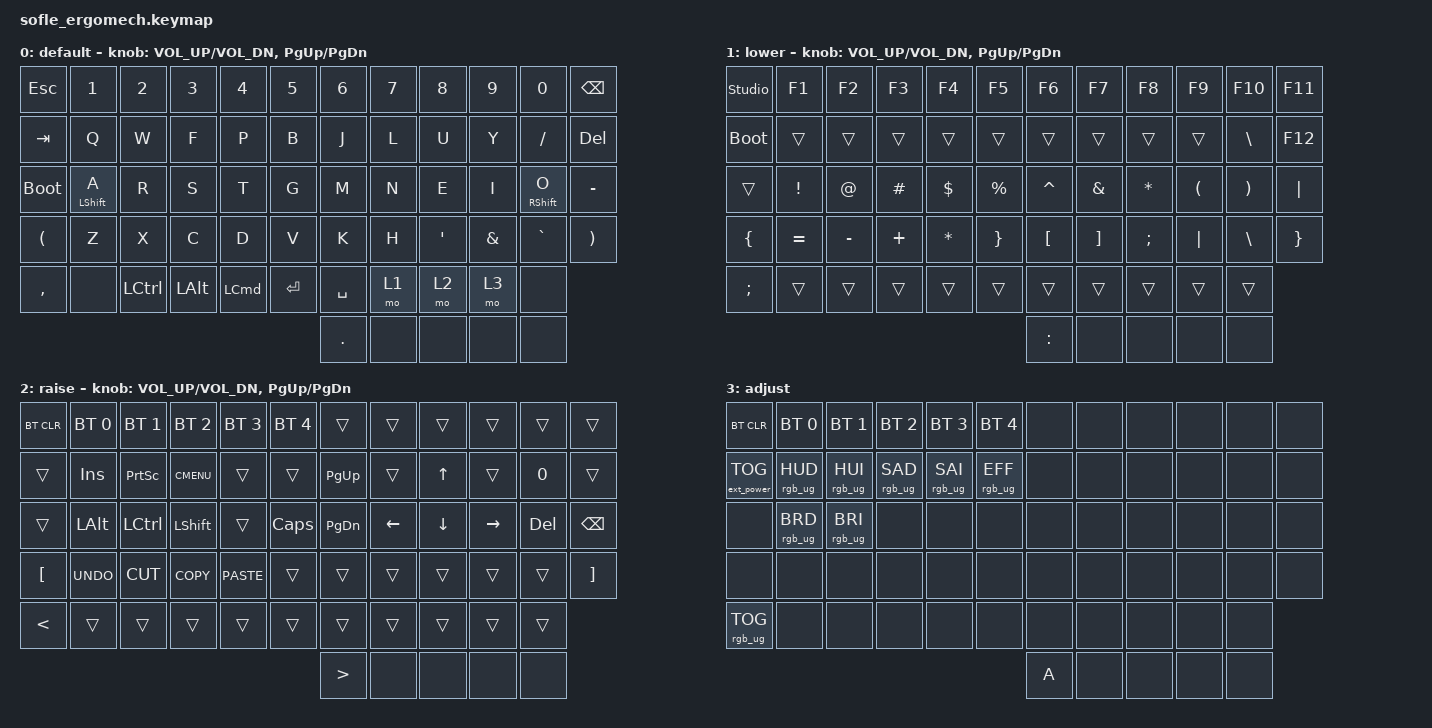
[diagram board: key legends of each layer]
/*
 * Copyright (c) 2020 The ZMK Contributors
 *
 * SPDX-License-Identifier: MIT
 */

#include <behaviors.dtsi>
#include <dt-bindings/zmk/bt.h>
#include <dt-bindings/zmk/ext_power.h>
#include <dt-bindings/zmk/keys.h>
#include <dt-bindings/zmk/rgb.h>

#define BASE 0
#define LOWER 1
#define RAISE 2
#define ADJUST 3

/ {
    // Activate ADJUST layer by pressing raise and lower

    conditional_layers {
        compatible = "zmk,conditional-layers";

        adjust_layer {
            if-layers = <LOWER RAISE>;
            then-layer = <ADJUST>;
        };
    };

    keymap {
        compatible = "zmk,keymap";

        default_layer {
            label = "default";

            // ------------------------------------------------------------------------------------------------------------
            // |   `   |  1  |  2  |  3   |  4   |  5   |                   |  6   |  7    |  8    |  9   |   0   |       |
            // |  ESC  |  Q  |  W  |  E   |  R   |  T   |                   |  Y   |  U    |  I    |  O   |   P   | BKSPC |
            // |  TAB  |  A  |  S  |  D   |  F   |  G   |                   |  H   |  J    |  K    |  L   |   ;   |   '   |
            // | SHIFT |  Z  |  X  |  C   |  V   |  B   |  MUTE  |  |       |  N   |  M    |  ,    |  .   |   /   | SHIFT |
            //               | GUI | ALT  | CTRL | LOWER|  ENTER |  | SPACE | RAISE| CTRL  | ALT   | GUI  |

            bindings = <
&kp ESCAPE            &kp N1            &kp N2     &kp N3        &kp N4            &kp N5      &kp N6      &kp N7  &kp N8   &kp N9         &kp N0             &kp BACKSPACE
&kp TAB               &kp Q             &kp W      &kp F         &kp P             &kp B       &kp J       &kp L   &kp U    &kp Y          &kp SLASH          &kp DELETE
&bootloader           &mt LEFT_SHIFT A  &kp R      &kp S         &kp T             &kp G       &kp M       &kp N   &kp E    &kp I          &mt RIGHT_SHIFT O  &kp MINUS
&kp LEFT_PARENTHESIS  &kp Z             &kp X      &kp C         &kp D             &kp V       &kp K       &kp H   &kp SQT  &kp AMPERSAND  &kp GRAVE          &kp RIGHT_PARENTHESIS
&kp COMMA             &none             &kp LCTRL  &kp LEFT_ALT  &kp LEFT_COMMAND  &kp RETURN  &kp SPACE   &mo 1   &mo 2    &mo 3          &none
                                                                                               &kp PERIOD  &none   &none    &none          &none
            >;

            sensor-bindings = <&inc_dec_kp C_VOL_UP C_VOL_DN &inc_dec_kp PG_UP PG_DN>;
        };

        lower_layer {
            label = "lower";

            // TODO: Some binds are waiting for shifted keycode support.
            // ------------------------------------------------------------------------------------------------------------
            // |       |  F1 |  F2 |  F3  |  F4  |  F5  |                   |  F6  |  F7   |  F8   |  F9  |  F10  |  F11  |
            // |   `   |  1  |  2  |  3   |  4   |  5   |                   |  6   |  7    |  8    |  9   |   0   |  F12  |
            // |       |  !  |  @  |  #   |  $   |  %   |                   |  ^   |  &    |  *    |  (   |   )   |   |   |
            // |       |  =  |  -  |  +   |  {   |  }   |        |  |       |  [   |  ]    |  ;    |  :   |   \   |       |
            //               |     |      |      |      |        |  |       |      |       |       |      |

            bindings = <
&studio_unlock  &kp F1     &kp F2     &kp F3    &kp F4        &kp F5     &kp F6     &kp F7    &kp F8     &kp F9    &kp F10        &kp F11
&bootloader     &trans     &trans     &trans    &trans        &trans     &trans     &trans    &trans     &trans    &kp BACKSLASH  &kp F12
&trans          &kp EXCL   &kp AT     &kp HASH  &kp DLLR      &kp PRCNT  &kp CARET  &kp AMPS  &kp ASTRK  &kp LPAR  &kp RPAR       &kp PIPE
&kp LEFT_BRACE  &kp EQUAL  &kp MINUS  &kp PLUS  &kp ASTERISK  &kp RBRC   &kp LBKT   &kp RBKT  &kp SEMI   &kp PIPE  &kp BSLH       &kp RIGHT_BRACE
&kp SEMICOLON   &trans     &trans     &trans    &trans        &trans     &trans     &trans    &trans     &trans    &trans
                                                                         &kp COLON  &none     &none      &none     &none
            >;

            sensor-bindings = <&inc_dec_kp C_VOL_UP C_VOL_DN &inc_dec_kp PG_UP PG_DN>;
        };

        raise_layer {
            label = "raise";

            // ------------------------------------------------------------------------------------------------------------
            // | BTCLR | BT1  | BT2  |  BT3  |  BT4  |  BT5 |                |      |      |       |      |       |       |
            // |       | INS  | PSCR | GUI   |       |      |                | PGUP |      |   ^   |      |       |       |
            // |       | ALT  | CTRL | SHIFT |       | CAPS |                | PGDN |   <- |   v   |  ->  |  DEL  | BKSPC |
            // |       | UNDO | CUT  | COPY  | PASTE |      |      |  |      |      |      |       |      |       |       |
            //                |      |       |       |      |      |  |      |      |      |       |      |

            bindings = <
&bt BT_CLR        &bt BT_SEL 0  &bt BT_SEL 1  &bt BT_SEL 2  &bt BT_SEL 3  &bt BT_SEL 4  &trans            &trans    &trans    &trans     &trans   &trans
&trans            &kp INS       &kp PSCRN     &kp K_CMENU   &trans        &trans        &kp PG_UP         &trans    &kp UP    &trans     &kp N0   &trans
&trans            &kp LALT      &kp LCTRL     &kp LSHFT     &trans        &kp CLCK      &kp PG_DN         &kp LEFT  &kp DOWN  &kp RIGHT  &kp DEL  &kp BSPC
&kp LEFT_BRACKET  &kp K_UNDO    &kp K_CUT     &kp K_COPY    &kp K_PASTE   &trans        &trans            &trans    &trans    &trans     &trans   &kp RIGHT_BRACKET
&kp LESS_THAN     &trans        &trans        &trans        &trans        &trans        &trans            &trans    &trans    &trans     &trans
                                                                                        &kp GREATER_THAN  &none     &none     &none      &none
            >;

            sensor-bindings = <&inc_dec_kp C_VOL_UP C_VOL_DN &inc_dec_kp PG_UP PG_DN>;
        };

        adjust_layer {
            // ----------------------------------------------------------------------------------------------------------------------------
            // | BTCLR  |  BT1    |  BT2    |   BT3   |   BT4   |   BT5   |                  |      |      |       |      |       |       |
            // | EXTPWR | RGB_HUD | RGB_HUI | RGB_SAD | RGB_SAI | RGB_EFF |                  |      |      |       |      |       |       |
            // |        | RGB_BRD | RGB_BRI |         |         |         |                  |      |      |       |      |       |       |
            // |        |         |         |         |         |         | RGB_TOG | |      |      |      |       |      |       |       |
            //                    |         |         |         |         |         | |      |      |      |       |      |

            label = "adjust";
            bindings = <
&bt BT_CLR         &bt BT_SEL 0     &bt BT_SEL 1     &bt BT_SEL 2     &bt BT_SEL 3     &bt BT_SEL 4     &none  &none  &none  &none  &none  &none
&ext_power EP_TOG  &rgb_ug RGB_HUD  &rgb_ug RGB_HUI  &rgb_ug RGB_SAD  &rgb_ug RGB_SAI  &rgb_ug RGB_EFF  &none  &none  &none  &none  &none  &none
&none              &rgb_ug RGB_BRD  &rgb_ug RGB_BRI  &none            &none            &none            &none  &none  &none  &none  &none  &none
&none              &none            &none            &none            &none            &none            &none  &none  &none  &none  &none  &none
&rgb_ug RGB_TOG    &none            &none            &none            &none            &none            &none  &none  &none  &none  &none
                                                                                                        &kp A  &none  &none  &none  &none
            >;
        };
    };
};
